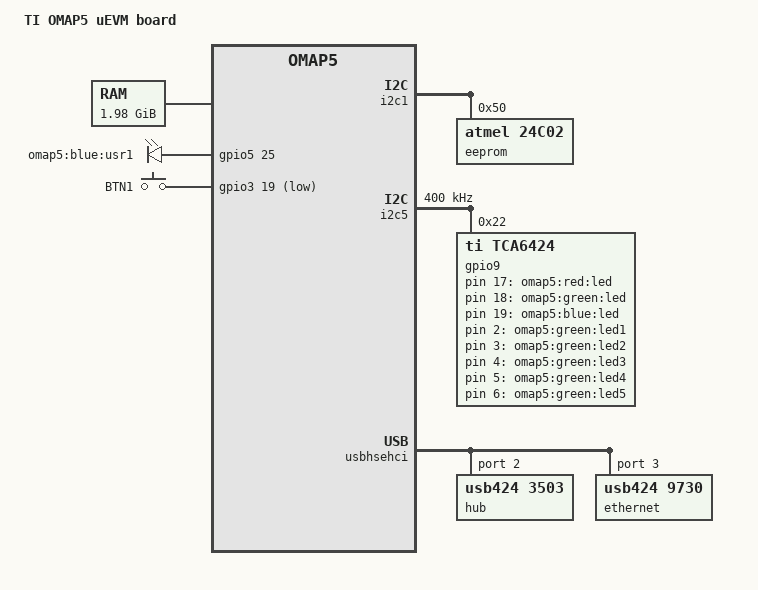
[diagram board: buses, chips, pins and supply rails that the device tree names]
/*
 * Copyright (C) 2013 Texas Instruments Incorporated - http://www.ti.com/
 *
 * This program is free software; you can redistribute it and/or modify
 * it under the terms of the GNU General Public License version 2 as
 * published by the Free Software Foundation.
 */
/dts-v1/;

#include "omap5-board-common.dtsi"

/ {
	model = "TI OMAP5 uEVM board";
	compatible = "ti,omap5-uevm", "ti,omap5";

	memory@80000000 {
		device_type = "memory";
		reg = <0 0x80000000 0 0x7f000000>; /* 2032 MB */
	};

	aliases {
		ethernet = &ethernet;
	};

	leds {
		compatible = "gpio-leds";
		led1 {
			label = "omap5:blue:usr1";
			gpios = <&gpio5 25 GPIO_ACTIVE_HIGH>; /* gpio5_153 D1 LED */
			linux,default-trigger = "heartbeat";
			default-state = "off";
		};
	};

	evm_keys {
		compatible = "gpio-keys";

		pinctrl-names = "default";
		pinctrl-0 = <&evm_keys_pins>;

		#address-cells = <7>;
		#size-cells = <0>;

		btn1 {
			label = "BTN1";
			linux,code = <169>;
			gpios = <&gpio3 19 GPIO_ACTIVE_LOW>;	/* gpio3_83 */
			wakeup-source;
			autorepeat;
			debounce_interval = <50>;
		};
	};

	evm_leds {
		compatible = "gpio-leds";

		led1 {
			label = "omap5:red:led";
			gpios = <&gpio9 17 GPIO_ACTIVE_HIGH>;
			linux,default-trigger = "mmc0";
			default-state = "off";
		};

		led2 {
			label = "omap5:green:led";
			gpios = <&gpio9 18 GPIO_ACTIVE_HIGH>;
			linux,default-trigger = "mmc1";
			default-state = "off";
		};

		led3 {
			label = "omap5:blue:led";
			gpios = <&gpio9 19 GPIO_ACTIVE_HIGH>;
			linux,default-trigger = "mmc2";
			default-state = "off";
		};

		led4 {
			label = "omap5:green:led1";
			gpios = <&gpio9 2 GPIO_ACTIVE_HIGH>;
			linux,default-trigger = "heartbeat";
			default-state = "off";
		};

		led5 {
			label = "omap5:green:led2";
			gpios = <&gpio9 3 GPIO_ACTIVE_HIGH>;
			linux,default-trigger = "default-on";
			default-state = "off";
		};

		led6 {
			label = "omap5:green:led3";
			gpios = <&gpio9 4 GPIO_ACTIVE_HIGH>;
			linux,default-trigger = "heartbeat";
			default-state = "off";
		};

		led7 {
			label = "omap5:green:led4";
			gpios = <&gpio9 5 GPIO_ACTIVE_HIGH>;
			linux,default-trigger = "default-on";
			default-state = "off";
		};

		led8 {
			label = "omap5:green:led5";
			gpios = <&gpio9 6 GPIO_ACTIVE_HIGH>;
			linux,default-trigger = "heartbeat";
			default-state = "off";
		};
	};
};

&hdmi {
	vdda-supply = <&ldo4_reg>;
};

&i2c1 {
	eeprom@50 {
		compatible = "atmel,24c02";
		reg = <0x50>;
	};
};

&i2c5 {
	pinctrl-names = "default";
	pinctrl-0 = <&i2c5_pins>;

	clock-frequency = <400000>;

	gpio9: gpio@22 {
		compatible = "ti,tca6424";
		reg = <0x22>;
		gpio-controller;
		#gpio-cells = <2>;
	};
};

&omap5_pmx_core {
	evm_keys_pins: pinmux_evm_keys_gpio_pins {
		pinctrl-single,pins = <
			OMAP5_IOPAD(0x0b6, PIN_INPUT | MUX_MODE6)	/* gpio3_83 */
		>;
	};

	i2c5_pins: pinmux_i2c5_pins {
		pinctrl-single,pins = <
			OMAP5_IOPAD(0x1c6, PIN_INPUT | MUX_MODE0)		/* i2c5_scl */
			OMAP5_IOPAD(0x1c8, PIN_INPUT | MUX_MODE0)		/* i2c5_sda */
		>;
	};
};

&tpd12s015 {
	gpios = <&gpio9 0 GPIO_ACTIVE_HIGH>,	/* TCA6424A P01, CT CP HPD */
		<&gpio9 1 GPIO_ACTIVE_HIGH>,	/* TCA6424A P00, LS OE */
		<&gpio7 1 GPIO_ACTIVE_HIGH>;	/* GPIO 193, HPD */
};

&twl6040 {
	ti,audpwron-gpio = <&gpio5 13 GPIO_ACTIVE_HIGH>;  /* gpio line 141 */
};

&twl6040_pins {
	pinctrl-single,pins = <
		OMAP5_IOPAD(0x1be, PIN_OUTPUT | MUX_MODE6)	/* mcspi1_somi.gpio5_141 */
	>;
};

&usbhsehci {
	#address-cells = <1>;
	#size-cells = <0>;

	hub@2 {
		compatible = "usb424,3503";
		reg = <2>;
		#address-cells = <1>;
		#size-cells = <0>;
	};

	ethernet: usbether@3 {
		compatible = "usb424,9730";
		reg = <3>;
	};
};

&wlcore {
	compatible = "ti,wl1837";
};
